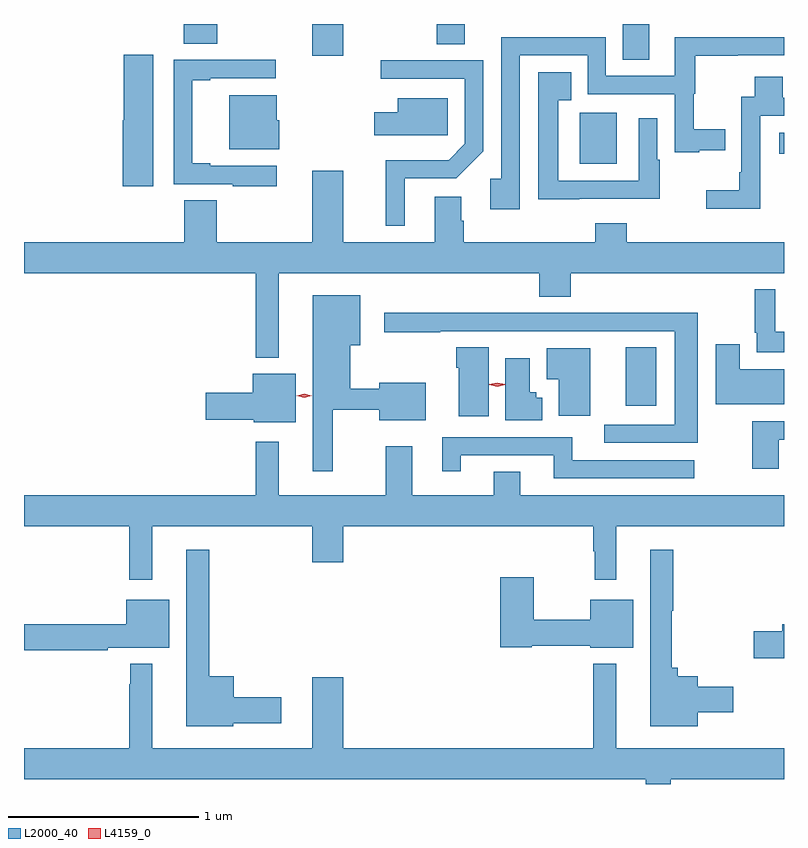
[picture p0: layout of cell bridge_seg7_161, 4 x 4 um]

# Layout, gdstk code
import gdstk
lib = gdstk.Library(unit=1e-6, precision=1e-09)
def R(c, l, rs):  # rectangles x0, y0, x1, y1
    for r in rs: c.add(gdstk.rectangle(r[:2], r[2:], *l))
def P(c, l, *ps):  # polygons
    for p in ps: c.add(gdstk.Polygon(p, *l))
L2000_40 = (2000, 40)
L4159_0 = (4159, 0)

bridge_seg7_161 = lib.new_cell('bridge_seg7_161')
R(bridge_seg7_161, L2000_40, [(478.346,1075.842,478.507,1076.15), (478.106,1077.116,478.3,1077.384), (479.154,1077.17,479.18,1077.28), (478.331,1077.664,478.471,1077.852), (476.696,1077.684,476.86,1077.852), (477.352,1077.745,477.499,1077.852), (476.021,1077.748,476.198,1077.852)])
P(bridge_seg7_161, L2000_40, [(477.789,1077.687),(478.146,1077.687),(478.146,1077.483),(478.605,1077.483),(478.605,1077.177),(478.733,1077.177),(478.733,1077.188),(478.87,1077.188),(478.87,1077.298),(478.704,1077.298),(478.704,1077.486),(478.714,1077.486),(478.714,1077.685),(478.937,1077.685),(478.937,1077.687),(479.18,1077.687),(479.18,1077.783),(478.604,1077.783),(478.604,1077.579),(478.242,1077.579),(478.242,1077.783),(477.693,1077.783),(477.693,1077.038),(477.633,1077.038),(477.633,1076.877),(477.789,1076.877)],
  [(475.861,1077.691),(475.706,1077.691),(475.706,1077.345),(475.7,1077.345),(475.7,1076.997),(475.861,1076.997)],
  [(476.509,1077.105),(476.161,1077.105),(476.161,1077.118),(476.066,1077.118),(476.066,1077.555),(476.161,1077.555),(476.161,1077.567),(476.506,1077.567),(476.506,1077.665),(476.281,1077.665),(476.281,1077.663),(475.968,1077.663),(475.968,1077.009),(476.278,1077.009),(476.278,1076.997),(476.509,1076.997)],
  [(477.184,1077.039),(477.454,1077.039),(477.597,1077.182),(477.597,1077.66),(477.057,1077.66),(477.057,1077.564),(477.501,1077.564),(477.501,1077.222),(477.415,1077.136),(477.085,1077.136),(477.085,1076.79),(477.184,1076.79)],
  [(478.103,1076.931),(478.525,1076.931),(478.525,1077.138),(478.512,1077.138),(478.512,1077.355),(478.416,1077.355),(478.416,1077.027),(477.991,1077.027),(477.991,1077.452),(478.061,1077.452),(478.061,1077.598),(477.887,1077.598),(477.887,1076.929),(478.103,1076.929)],
  [(479.054,1077.369),(479.18,1077.369),(479.18,1077.465),(479.173,1077.465),(479.173,1077.574),(479.026,1077.574),(479.026,1077.468),(478.956,1077.468),(478.956,1077.073),(478.944,1077.073),(478.944,1076.978),(478.77,1076.978),(478.77,1076.879),(479.054,1076.879)],
  [(476.524,1077.345),(476.509,1077.345),(476.509,1077.478),(476.261,1077.478),(476.261,1077.194),(476.524,1077.194)],
  [(477.411,1077.46),(477.146,1077.46),(477.146,1077.388),(477.024,1077.388),(477.024,1077.266),(477.411,1077.266)],
  [(476.521,1076.54),(477.893,1076.54),(477.893,1076.416),(478.058,1076.416),(478.058,1076.54),(479.18,1076.54),(479.18,1076.704),(478.352,1076.704),(478.352,1076.803),(478.187,1076.803),(478.187,1076.704),(477.494,1076.704),(477.494,1076.816),(477.481,1076.816),(477.481,1076.944),(477.341,1076.944),(477.341,1076.704),(476.86,1076.704),(476.86,1077.079),(476.696,1077.079),(476.696,1076.704),(476.195,1076.704),(476.195,1076.924),(476.024,1076.924),(476.024,1076.704),(475.18,1076.704),(475.18,1076.54),(476.4,1076.54),(476.4,1076.096),(476.521,1076.096)],
  [(479.18,1076.233),(479.134,1076.233),(479.134,1076.455),(479.025,1076.455),(479.025,1076.227),(479.037,1076.227),(479.037,1076.124),(479.18,1076.124)],
  [(476.806,1075.821),(477.05,1075.821),(477.05,1075.766),(477.295,1075.766),(477.295,1075.963),(477.05,1075.963),(477.05,1075.932),(476.896,1075.932),(476.896,1076.162),(476.95,1076.162),(476.95,1076.425),(476.699,1076.425),(476.699,1075.497),(476.806,1075.497)],
  [(478.726,1076.333),(478.141,1076.333),(478.141,1076.331),(477.809,1076.331),(477.809,1076.333),(477.075,1076.333),(477.075,1076.23),(477.371,1076.23),(477.371,1076.235),(478.604,1076.235),(478.604,1075.743),(478.233,1075.743),(478.233,1075.647),(478.726,1075.647)],
  [(479.18,1076.035),(478.948,1076.035),(478.948,1076.167),(478.82,1076.167),(478.82,1075.85),(479.18,1075.85)],
  [(477.625,1076.15),(477.455,1076.15),(477.455,1076.042),(477.467,1076.042),(477.467,1075.788),(477.625,1075.788)],
  [(478.159,1076.146),(477.93,1076.146),(477.93,1075.981),(477.995,1075.981),(477.995,1075.791),(478.159,1075.791)],
  [(477.907,1075.886),(477.876,1075.886),(477.876,1075.914),(477.841,1075.914),(477.841,1076.092),(477.713,1076.092),(477.713,1075.766),(477.907,1075.766)],
  [(476.611,1076.011),(476.384,1076.011),(476.384,1075.91),(476.136,1075.91),(476.136,1075.768),(476.388,1075.768),(476.388,1075.757),(476.611,1075.757)],
  [(479.152,1075.665),(479.18,1075.665),(479.18,1075.761),(479.012,1075.761),(479.012,1075.512),(479.152,1075.512)],
  [(478.708,1075.557),(478.066,1075.557),(478.066,1075.677),(477.38,1075.677),(477.38,1075.497),(477.478,1075.497),(477.478,1075.581),(477.968,1075.581),(477.968,1075.461),(478.708,1075.461)],
  [(475.855,1075.208),(476.696,1075.208),(476.696,1075.02),(476.86,1075.02),(476.86,1075.208),(478.176,1075.208),(478.176,1075.076),(478.183,1075.076),(478.183,1074.927),(478.297,1074.927),(478.297,1075.208),(479.18,1075.208),(479.18,1075.372),(477.793,1075.372),(477.793,1075.496),(477.653,1075.496),(477.653,1075.372),(477.223,1075.372),(477.223,1075.63),(477.083,1075.63),(477.083,1075.372),(476.521,1075.372),(476.521,1075.654),(476.4,1075.654),(476.4,1075.372),(475.18,1075.372),(475.18,1075.208),(475.734,1075.208),(475.734,1074.927),(475.855,1074.927)],
  [(478.726,1074.23),(478.912,1074.23),(478.912,1074.365),(478.726,1074.365),(478.726,1074.418),(478.622,1074.418),(478.622,1074.463),(478.589,1074.463),(478.589,1074.765),(478.597,1074.765),(478.597,1075.084),(478.475,1075.084),(478.475,1074.155),(478.726,1074.155)],
  [(476.28,1074.173),(476.533,1074.173),(476.533,1074.308),(476.284,1074.308),(476.284,1074.418),(476.155,1074.418),(476.155,1075.084),(476.033,1075.084),(476.033,1074.155),(476.28,1074.155)],
  [(478.387,1074.823),(478.16,1074.823),(478.16,1074.716),(477.864,1074.716),(477.864,1074.94),(477.686,1074.94),(477.686,1074.572),(477.852,1074.572),(477.852,1074.58),(478.16,1074.58),(478.16,1074.569),(478.387,1074.569)],
  [(475.622,1074.569),(475.945,1074.569),(475.945,1074.823),(475.718,1074.823),(475.718,1074.692),(475.18,1074.692),(475.18,1074.556),(475.622,1074.556)],
  [(479.18,1074.692),(479.171,1074.692),(479.171,1074.656),(479.022,1074.656),(479.022,1074.514),(479.18,1074.514)],
  [(478.583,1073.876),(479.18,1073.876),(479.18,1074.04),(478.297,1074.04),(478.297,1074.484),(478.176,1074.484),(478.176,1074.04),(476.86,1074.04),(476.86,1074.415),(476.696,1074.415),(476.696,1074.04),(475.855,1074.04),(475.855,1074.484),(475.74,1074.484),(475.74,1074.377),(475.734,1074.377),(475.734,1074.04),(475.18,1074.04),(475.18,1073.876),(478.453,1073.876),(478.453,1073.852),(478.583,1073.852)])
P(bridge_seg7_161, L4159_0, [(477.671,1075.944),(477.629,1075.954),(477.629,1075.954),(477.629,1075.955),(477.671,1075.964),(477.712,1075.955),(477.712,1075.954),(477.712,1075.954)],
  [(476.656,1075.886),(476.616,1075.895),(476.616,1075.895),(476.616,1075.895),(476.655,1075.906),(476.695,1075.896),(476.695,1075.896),(476.695,1075.896)])

lib.write_gds('bridge_seg7_161.gds')
